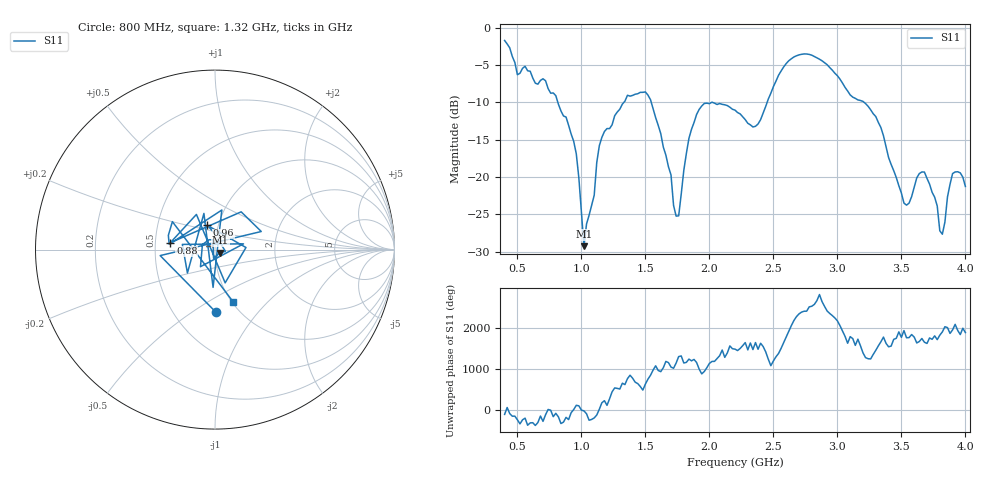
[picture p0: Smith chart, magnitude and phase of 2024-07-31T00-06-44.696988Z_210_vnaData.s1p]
!Created with skrf (http://scikit-rf.org).
# Hz S RI R 50.0
!freq ReS11 ImS11
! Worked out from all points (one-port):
!   181 points, 400 MHz to 4 GHz, reference 50 ohm
!   lowest |S11| = -29.3 dB at 1.02 GHz (marker M1), VSWR 1.07, Z = 53.1 - j1.78 ohm
!   |S11| at or under -10 dB: 815.6 MHz to 1.333 GHz (517.1 MHz wide, 48.1 % of centre); 1.546 GHz to 2.019 GHz (473.3 MHz wide, 26.6 % of centre); 3.208 GHz to end of sweep (the widest 3 of 4)
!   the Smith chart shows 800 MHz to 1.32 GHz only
!   S11 on the Smith chart (normalised r, x): 800 MHz: 0.79, -0.63; 880 MHz: 0.60, +0.05; 960 MHz: 0.88, +0.25; 1.32 GHz: 1.01, -0.65
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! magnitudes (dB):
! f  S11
! 400 MHz  -1.7
! 500 MHz  -6.3
! 560 MHz  -5.2
! 800 MHz  -9.1
! 860 MHz  -11.8
! 880 MHz  -12.0
! 960 MHz  -16.9
! 1.02 GHz  -29.3
! 1.1 GHz  -22.5
! 1.14 GHz  -15.8
! 1.3 GHz  -10.9
! 1.32 GHz  -10.2
! 1.54 GHz  -9.7
! 1.76 GHz  -25.2
! 1.84 GHz  -14.8
! 1.92 GHz  -11.0
! 2.2 GHz  -11.1
! 2.36 GHz  -13.2
! 2.66 GHz  -3.9
! 2.88 GHz  -4.5
! 3.1 GHz  -9.0
! 3.3 GHz  -11.9
! 3.52 GHz  -23.5
! 3.56 GHz  -23.5
! 3.68 GHz  -19.3
! 3.82 GHz  -27.7
! 3.9 GHz  -19.5
! 4 GHz  -21.3
